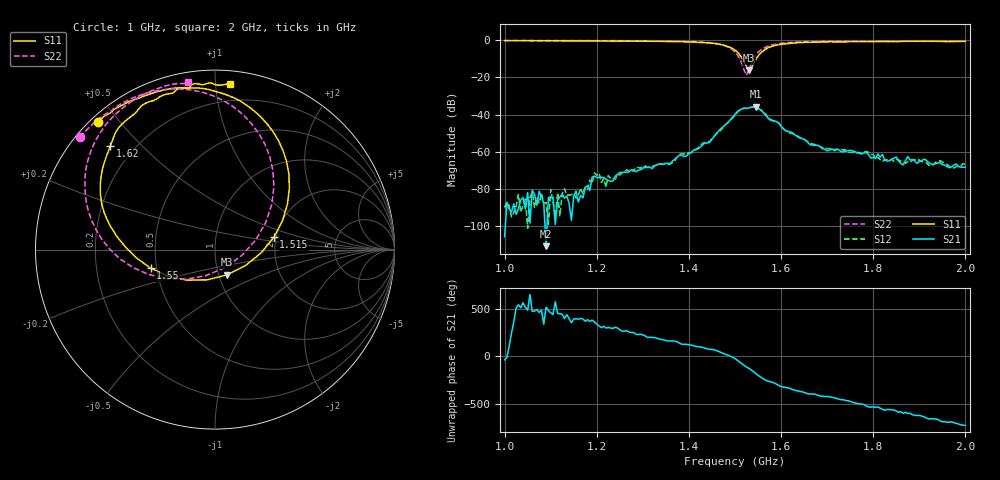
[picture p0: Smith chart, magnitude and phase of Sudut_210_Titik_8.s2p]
# Hz S RI R 50
! CMT, C1220, 16058040, 17.2.0/1
! Date: 14/08/2018 12:07:21
! Data: Format (Calibration Info)
! Freq  S11: Re/Im (F2)  S21: Re/Im (F2)  S12: Re/Im (F2)  S22: Re/Im (F2)
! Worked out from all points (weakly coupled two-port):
!   201 points, 1 GHz to 2 GHz, reference 50 ohm
!   highest |S21| = -35.67 dB at 1.545 GHz (marker M1); lowest = -110.6 dB at 1.09 GHz (marker M2)
!   lowest |S11| = -16.1 dB at 1.53 GHz (marker M3), VSWR 1.37, Z = 55 - j15.8 ohm
!   |S11| at or under -10 dB: 1.516 GHz to 1.546 GHz (29.98 MHz wide, 1.96 % of centre)
!   |S22| runs from -18.8 to -0.2 dB; largest |S21 - S12| = 0.00073
!   S11 on the Smith chart (normalised r, x): 1 GHz: 0.02, +0.44; 1.515 GHz: 1.94, +0.30; 1.55 GHz: 0.46, -0.11; 1.62 GHz: 0.12, +0.41; 2 GHz: 0.09, +1.09
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1e9  -0.6541 0.7096  4.29e-06 -3.14e-06  -3.25e-05 -2.56e-07  -0.7535 0.6254
1.09e9  -0.5693 0.7745  -2.75e-06 1.09e-06  -3.05e-05 3.19e-05  -0.6882 0.6927
1.17e9  -0.4865 0.8213  4.82e-05 3.25e-05  3.92e-05 6.15e-05  -0.6163 0.7514
1.18e9  -0.4706 0.8274  0.00011 5.6e-05  7.72e-05 6.14e-05  -0.6051 0.7577
1.185e9  -0.4628 0.8303  9.06e-05 1.28e-05  0.000164 6.31e-05  -0.5991 0.7608
1.19e9  -0.4557 0.8328  0.000196 7.87e-05  0.000138 3.27e-05  -0.5929 0.7634
1.195e9  -0.4498 0.8351  0.000224 1.75e-05  0.000273 3.94e-06  -0.5869 0.7646
1.22e9  -0.4252 0.8448  9.05e-05 -0.000164  7.09e-05 -8.72e-05  -0.5715 0.7786
1.225e9  -0.4172 0.8479  9.89e-05 -0.000141  0.000166 -0.000165  -0.5664 0.7837
1.335e9  -0.2301 0.8993  -0.000473 -3.97e-05  -0.000458 -4.04e-05  -0.3998 0.8661
1.45e9  0.1713 0.8082  0.000611 0.00211  0.00074 0.00217  0.0241 0.841
1.5e9  0.4144 0.3413  0.00936 -0.00392  0.00871 -0.00372  0.3283 0.3507
1.515e9  0.3276 0.0681  0.00327 -0.0138  0.0037 -0.0138  0.2273 0.0547
1.525e9  0.171 -0.0885  -0.00555 -0.0136  -0.00549 -0.0137  0.0559 -0.1
1.53e9  0.0689 -0.1402  -0.00876 -0.0124  -0.00876 -0.0125  -0.0521 -0.1456
1.545e9  -0.2636 -0.1474  -0.0165 -7.03e-05  -0.0163 -0.000458  -0.3733 -0.1373
1.55e9  -0.3593 -0.1032  -0.0141 0.00502  -0.0143 0.00447  -0.4584 -0.0991
1.58e9  -0.6317 0.2566  7.53e-05 0.00688  0.000354 0.00715  -0.7059 0.2158
1.62e9  -0.5835 0.5759  0.00321 0.00122  0.00298 0.00113  -0.7081 0.4975
1.67e9  -0.4619 0.7456  0.00123 -0.000884  0.0013 -0.000959  -0.6252 0.6728
1.835e9  -0.1603 0.8987  -0.000545 0.000196  -0.00056 0.00016  -0.3756 0.8746
2e9  0.0858 0.9207  0.000383 -5.04e-05  0.000455 -5.49e-05  -0.1509 0.9334
